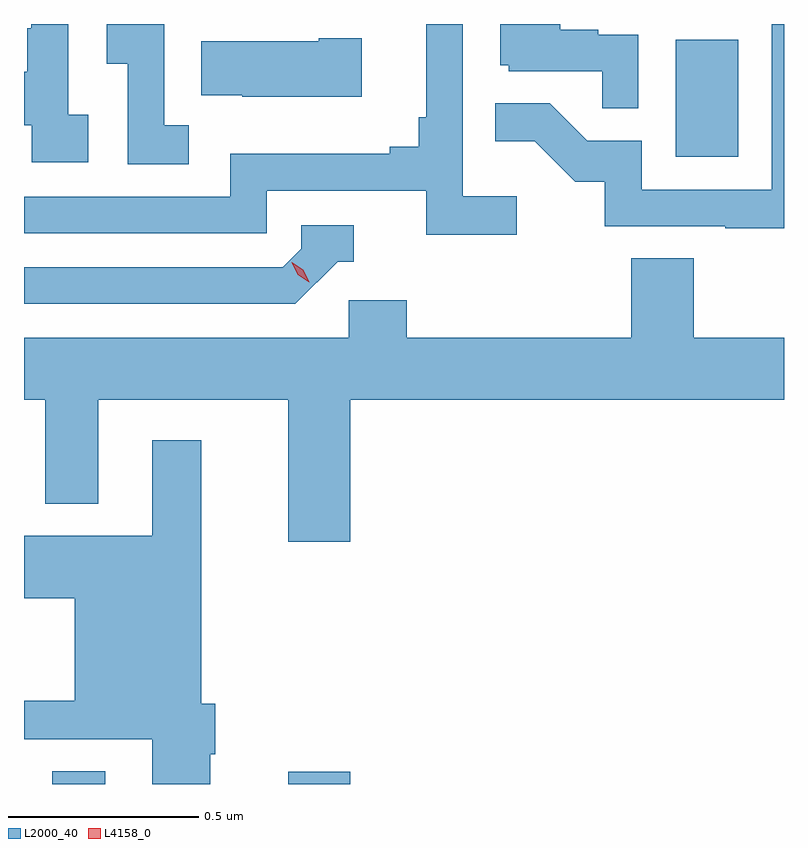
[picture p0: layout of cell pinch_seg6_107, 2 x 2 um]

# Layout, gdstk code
import gdstk
lib = gdstk.Library(unit=1e-6, precision=1e-09)
def R(c, l, rs):  # rectangles x0, y0, x1, y1
    for r in rs: c.add(gdstk.rectangle(r[:2], r[2:], *l))
def P(c, l, *ps):  # polygons
    for p in ps: c.add(gdstk.Polygon(p, *l))
L2000_40 = (2000, 40)
L4158_0 = (4158, 0)

pinch_seg6_107 = lib.new_cell('pinch_seg6_107')
R(pinch_seg6_107, L2000_40, [(895.655,915.689,895.795,915.722), (896.276,915.689,896.44,915.721), (897.296,917.34,897.46,917.647)])
P(pinch_seg6_107, L2000_40, [(896.014,917.423),(895.95,917.423),(895.95,917.689),(895.799,917.689),(895.799,917.584),(895.854,917.584),(895.854,917.32),(896.014,917.32)],
  [(897.198,917.661),(897.092,917.661),(897.092,917.674),(896.992,917.674),(896.992,917.689),(896.834,917.689),(896.834,917.58),(896.856,917.58),(896.856,917.565),(897.103,917.565),(897.103,917.467),(897.198,917.467)],
  [(897.581,917.689),(897.549,917.689),(897.549,917.253),(897.207,917.253),(897.207,917.382),(897.063,917.382),(896.965,917.48),(896.821,917.48),(896.821,917.381),(896.925,917.381),(897.032,917.274),(897.109,917.274),(897.109,917.157),(897.427,917.157),(897.427,917.152),(897.581,917.152)],
  [(896.878,917.236),(896.736,917.236),(896.736,917.689),(896.639,917.689),(896.639,917.443),(896.62,917.443),(896.62,917.366),(896.543,917.366),(896.543,917.347),(896.124,917.347),(896.124,917.235),(895.581,917.235),(895.581,917.139),(896.22,917.139),(896.22,917.25),(896.639,917.25),(896.639,917.134),(896.878,917.134)],
  [(895.75,917.45),(895.698,917.45),(895.698,917.689),(895.6,917.689),(895.6,917.678),(895.59,917.678),(895.59,917.563),(895.581,917.563),(895.581,917.423),(895.602,917.423),(895.602,917.325),(895.75,917.325)],
  [(896.47,917.652),(896.357,917.652),(896.357,917.644),(896.047,917.644),(896.047,917.501),(896.155,917.501),(896.155,917.498),(896.47,917.498)],
  [(896.406,917.064),(896.449,917.064),(896.449,917.16),(896.31,917.16),(896.31,917.097),(896.262,917.049),(895.581,917.049),(895.581,916.953),(896.295,916.953)],
  [(896.44,916.7),(897.581,916.7),(897.581,916.864),(897.344,916.864),(897.344,917.072),(897.179,917.072),(897.179,916.864),(896.588,916.864),(896.588,916.962),(896.436,916.962),(896.436,916.864),(895.581,916.864),(895.581,916.7),(895.637,916.7),(895.637,916.427),(895.777,916.427),(895.777,916.7),(896.276,916.7),(896.276,916.326),(896.44,916.326)],
  [(896.071,915.767),(896.084,915.767),(896.084,915.9),(896.047,915.9),(896.047,916.594),(895.919,916.594),(895.919,916.342),(895.581,916.342),(895.581,916.178),(895.715,916.178),(895.715,915.908),(895.581,915.908),(895.581,915.807),(895.919,915.807),(895.919,915.689),(896.071,915.689)])
P(pinch_seg6_107, L4158_0, [(896.331,917.009),(896.301,917.029),(896.285,917.061),(896.285,917.062),(896.285,917.062),(896.316,917.042),(896.332,917.01),(896.332,917.009)])

lib.write_gds('pinch_seg6_107.gds')
